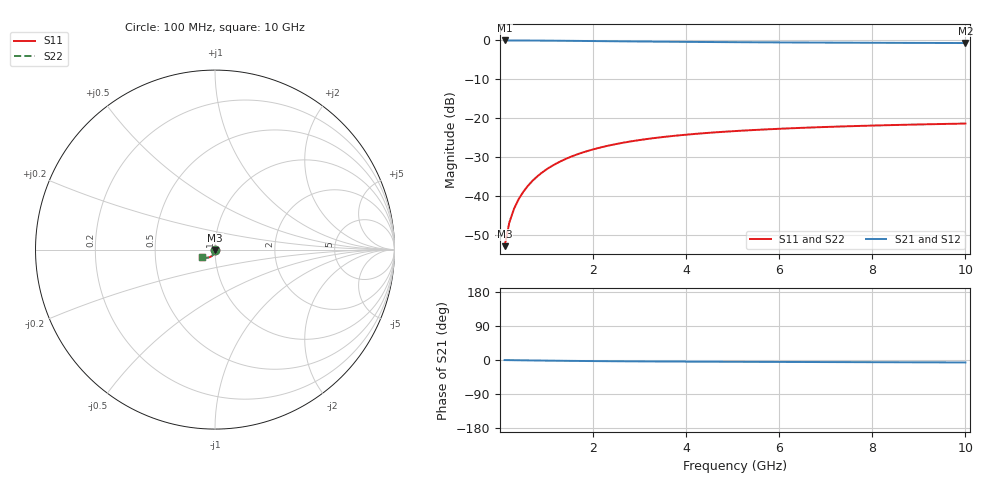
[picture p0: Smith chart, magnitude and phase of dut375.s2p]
! Touchstone file exported from HFSS 2024.1.0
!  File:  C:/UserFiles/LocalFiles/RDL_TSV_Batchsim/temp_TSV1_375_1779622286.aedt
!  Generated:  07:36:23 PM May 24, 2026
!  Design:  TSV1
!  Project:  temp_TSV1_375_1779622286
!  Setup:  Setup1
!  Solution:  Sweep
! Variables:
!  dtsv = 14.25um
!  hbump = 3um
!  htsv = 97.42um
!  lrdl = 252.1521522um
!  p = 40
!  p1 = 42.95um
!  t = 500um
!  trdl = 3um
!  wrdl = 24.89489489um
# GHz S MA R 50.000000
! Terminal data exported
! Port[1] = TSV22_T1
! Port[2] = TSV22_T2
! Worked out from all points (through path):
!   100 points, 100 MHz to 10 GHz, reference 50 ohm
!   highest |S21| = 0.00 dB at 100 MHz (marker M1); lowest = -0.7 dB at 10 GHz (marker M2)
!   lowest |S11| = -52.8 dB at 100 MHz (marker M3), VSWR 1.00, Z = 50 - j0.228 ohm
!   |S11| at or under -10 dB: start of sweep to end of sweep
!   |S22| runs from -52.8 to -21.3 dB; largest |S21 - S12| = 7.2e-15
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0.1  0.00228 -89.1  0.9998 -0.2  0.9998 -0.2  0.00228 -89.1
! Gamma 0 0 0 0
! Port Impedance 50 0 50 0
0.2  0.004561 -91.6  0.9996 -0.3  0.9996 -0.3  0.004561 -91.6
0.3  0.006842 -93.5  0.9993 -0.5  0.9993 -0.5  0.006842 -93.5
0.4  0.009111 -95.2  0.9989 -0.7  0.9989 -0.7  0.009111 -95.2
0.5  0.01136 -96.8  0.9983 -0.9  0.9983 -0.9  0.01136 -96.8
0.6  0.01358 -98.4  0.9977 -1.0  0.9977 -1.0  0.01358 -98.4
0.7  0.01577 -100.0  0.9969 -1.2  0.9969 -1.2  0.01577 -100.0
0.8  0.01792 -101.5  0.9961 -1.3  0.9961 -1.3  0.01792 -101.5
0.9  0.02003 -103.0  0.9952 -1.5  0.9952 -1.5  0.02003 -103.0
1.1  0.02411 -105.8  0.9932 -1.8  0.9932 -1.8  0.02411 -105.8
1.4  0.02985 -109.8  0.9898 -2.2  0.9898 -2.2  0.02985 -109.8
1.6  0.0334 -112.4  0.9873 -2.4  0.9873 -2.4  0.0334 -112.4
1.8  0.03674 -114.7  0.9848 -2.6  0.9848 -2.6  0.03674 -114.7
2.1  0.04135 -118.0  0.9809 -2.9  0.9809 -2.9  0.04135 -118.0
2.5  0.04679 -122.0  0.9757 -3.3  0.9757 -3.3  0.04679 -122.0
2.9  0.05151 -125.4  0.9708 -3.6  0.9708 -3.6  0.05151 -125.4
3.4  0.05656 -129.2  0.9651 -3.9  0.9651 -3.9  0.05656 -129.2
4.2  0.06311 -134.1  0.9571 -4.3  0.9571 -4.3  0.06311 -134.1
5.1  0.06884 -138.4  0.9498 -4.7  0.9498 -4.7  0.06884 -138.4
6.7  0.07628 -144.1  0.9397 -5.3  0.9397 -5.3  0.07628 -144.1
8.4  0.08181 -148.3  0.9321 -5.9  0.9321 -5.9  0.08181 -148.3
10  0.08563 -151.3  0.9267 -6.5  0.9267 -6.5  0.08563 -151.3
